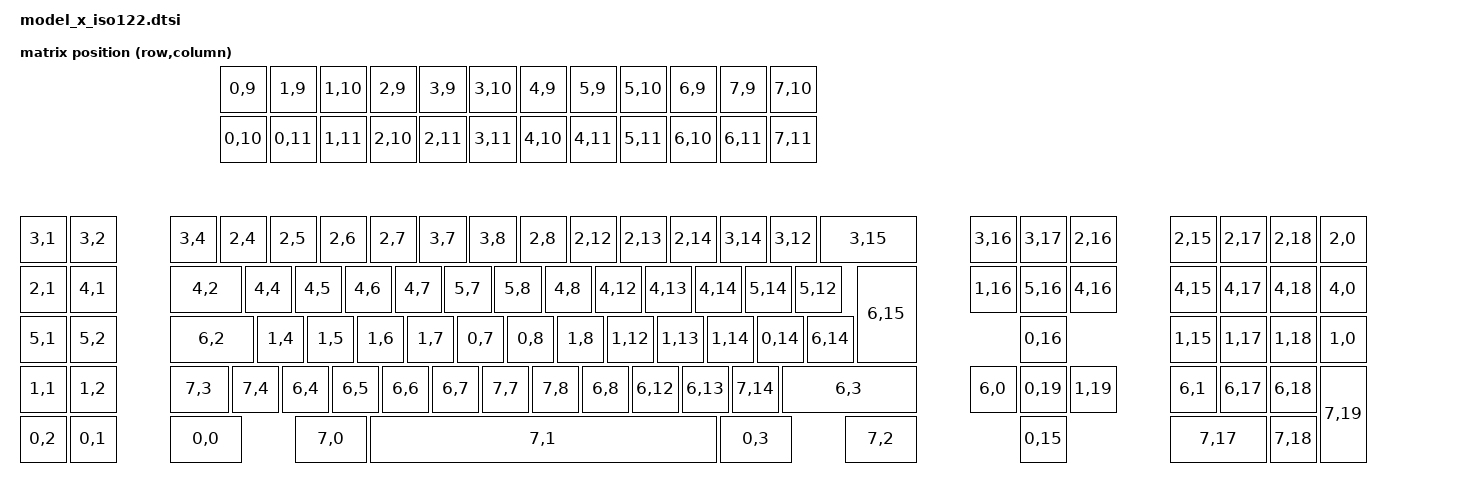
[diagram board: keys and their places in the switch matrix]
#include <dt-bindings/zmk/matrix_transform.h>
#include <physical_layouts.dtsi>

/ {

    iso122_ph_layout: iso122_ph_layout {
        compatible = "zmk,physical-layout";
        display-name = "ISO 122";
        transform = <&iso122_matrix_transform>;
        kscan = <&unified_kscan>;
        
        
        keys  //                     w   h    x    y     rot    rx    ry
            = <&key_physical_attrs 100 100  400    0       0     0     0>
            , <&key_physical_attrs 100 100  500    0       0     0     0>
            , <&key_physical_attrs 100 100  600    0       0     0     0>
            , <&key_physical_attrs 100 100  700    0       0     0     0>
            , <&key_physical_attrs 100 100  800    0       0     0     0>
            , <&key_physical_attrs 100 100  900    0       0     0     0>
            , <&key_physical_attrs 100 100  1000   0       0     0     0>
            , <&key_physical_attrs 100 100  1100   0       0     0     0>
            , <&key_physical_attrs 100 100  1200   0       0     0     0>
            , <&key_physical_attrs 100 100  1300   0       0     0     0>
            , <&key_physical_attrs 100 100  1400   0       0     0     0>
            , <&key_physical_attrs 100 100  1500   0       0     0     0>

            , <&key_physical_attrs 100 100  400    100     0     0     0>
            , <&key_physical_attrs 100 100  500    100     0     0     0>
            , <&key_physical_attrs 100 100  600    100     0     0     0>
            , <&key_physical_attrs 100 100  700    100     0     0     0>
            , <&key_physical_attrs 100 100  800    100     0     0     0>
            , <&key_physical_attrs 100 100  900    100     0     0     0>
            , <&key_physical_attrs 100 100  1000   100     0     0     0>
            , <&key_physical_attrs 100 100  1100   100     0     0     0>
            , <&key_physical_attrs 100 100  1200   100     0     0     0>
            , <&key_physical_attrs 100 100  1300   100     0     0     0>
            , <&key_physical_attrs 100 100  1400   100     0     0     0>
            , <&key_physical_attrs 100 100  1500   100     0     0     0>

            , <&key_physical_attrs 100 100    0    300     0     0     0>
            , <&key_physical_attrs 100 100  100    300     0     0     0>
            , <&key_physical_attrs 100 100  300    300     0     0     0>
            , <&key_physical_attrs 100 100  400    300     0     0     0>
            , <&key_physical_attrs 100 100  500    300     0     0     0>
            , <&key_physical_attrs 100 100  600    300     0     0     0>
            , <&key_physical_attrs 100 100  700    300     0     0     0>
            , <&key_physical_attrs 100 100  800    300     0     0     0>
            , <&key_physical_attrs 100 100  900    300     0     0     0>
            , <&key_physical_attrs 100 100  1000   300     0     0     0>
            , <&key_physical_attrs 100 100  1100   300     0     0     0>
            , <&key_physical_attrs 100 100  1200   300     0     0     0>
            , <&key_physical_attrs 100 100  1300   300     0     0     0>
            , <&key_physical_attrs 100 100  1400   300     0     0     0>
            , <&key_physical_attrs 100 100  1500   300     0     0     0>
            , <&key_physical_attrs 200 100  1600   300     0     0     0>
            , <&key_physical_attrs 100 100  1900   300     0     0     0>
            , <&key_physical_attrs 100 100  2000   300     0     0     0>
            , <&key_physical_attrs 100 100  2100   300     0     0     0>
            , <&key_physical_attrs 100 100  2300   300     0     0     0>
            , <&key_physical_attrs 100 100  2400   300     0     0     0>
            , <&key_physical_attrs 100 100  2500   300     0     0     0>
            , <&key_physical_attrs 100 100  2600   300     0     0     0>

            , <&key_physical_attrs 100 100    0    400     0     0     0>
            , <&key_physical_attrs 100 100  100    400     0     0     0>
            , <&key_physical_attrs 150 100  300    400     0     0     0>
            , <&key_physical_attrs 100 100  450    400     0     0     0>
            , <&key_physical_attrs 100 100  550    400     0     0     0>
            , <&key_physical_attrs 100 100  650    400     0     0     0>
            , <&key_physical_attrs 100 100  750    400     0     0     0>
            , <&key_physical_attrs 100 100  850    400     0     0     0>
            , <&key_physical_attrs 100 100  950    400     0     0     0>
            , <&key_physical_attrs 100 100  1050   400     0     0     0>
            , <&key_physical_attrs 100 100  1150   400     0     0     0>
            , <&key_physical_attrs 100 100  1250   400     0     0     0>
            , <&key_physical_attrs 100 100  1350   400     0     0     0>
            , <&key_physical_attrs 100 100  1450   400     0     0     0>
            , <&key_physical_attrs 100 100  1550   400     0     0     0>
            , <&key_physical_attrs 100 100  1900   400     0     0     0>
            , <&key_physical_attrs 100 100  2000   400     0     0     0>
            , <&key_physical_attrs 100 100  2100   400     0     0     0>
            , <&key_physical_attrs 100 100  2300   400     0     0     0>
            , <&key_physical_attrs 100 100  2400   400     0     0     0>
            , <&key_physical_attrs 100 100  2500   400     0     0     0>
            , <&key_physical_attrs 100 100  2600   400     0     0     0>

            , <&key_physical_attrs 100 100    0    500     0     0     0>
            , <&key_physical_attrs 100 100  100    500     0     0     0>
            , <&key_physical_attrs 175 100  300    500     0     0     0>
            , <&key_physical_attrs 100 100   475   500     0     0     0>
            , <&key_physical_attrs 100 100   575   500     0     0     0>
            , <&key_physical_attrs 100 100   675   500     0     0     0>
            , <&key_physical_attrs 100 100   775   500     0     0     0>
            , <&key_physical_attrs 100 100   875   500     0     0     0>
            , <&key_physical_attrs 100 100   975   500     0     0     0>
            , <&key_physical_attrs 100 100  1075   500     0     0     0>
            , <&key_physical_attrs 100 100  1175   500     0     0     0>
            , <&key_physical_attrs 100 100  1275   500     0     0     0>
            , <&key_physical_attrs 100 100  1375   500     0     0     0>
            , <&key_physical_attrs 100 100  1475   500     0     0     0>
            , <&key_physical_attrs 100 100  1575   500     0     0     0>
            , <&key_physical_attrs 125 200  1675   400     0     0     0>
            , <&key_physical_attrs 100 100  2000   500     0     0     0>
            , <&key_physical_attrs 100 100  2300   500     0     0     0>
            , <&key_physical_attrs 100 100  2400   500     0     0     0>
            , <&key_physical_attrs 100 100  2500   500     0     0     0>
            , <&key_physical_attrs 100 100  2600   500     0     0     0>

            , <&key_physical_attrs 100 100    0    600     0     0     0>
            , <&key_physical_attrs 100 100   100   600     0     0     0>
            , <&key_physical_attrs 125 100   300   600     0     0     0>
            , <&key_physical_attrs 100 100   425   600     0     0     0>
            , <&key_physical_attrs 100 100   525   600     0     0     0>
            , <&key_physical_attrs 100 100   625   600     0     0     0>
            , <&key_physical_attrs 100 100   725   600     0     0     0>
            , <&key_physical_attrs 100 100   825   600     0     0     0>
            , <&key_physical_attrs 100 100   925   600     0     0     0>
            , <&key_physical_attrs 100 100  1025   600     0     0     0>
            , <&key_physical_attrs 100 100  1125   600     0     0     0>
            , <&key_physical_attrs 100 100  1225   600     0     0     0>
            , <&key_physical_attrs 100 100  1325   600     0     0     0>
            , <&key_physical_attrs 100 100  1425   600     0     0     0>
            , <&key_physical_attrs 275 100  1525   600     0     0     0>
            , <&key_physical_attrs 100 100  1900   600     0     0     0>
            , <&key_physical_attrs 100 100  2000   600     0     0     0>
            , <&key_physical_attrs 100 100  2100   600     0     0     0>
            , <&key_physical_attrs 100 100  2300   600     0     0     0>
            , <&key_physical_attrs 100 100  2400   600     0     0     0>
            , <&key_physical_attrs 100 100  2500   600     0     0     0>
            , <&key_physical_attrs 100 200  2600   600     0     0     0>

            , <&key_physical_attrs 100 100    0    700     0     0     0>
            , <&key_physical_attrs 100 100  100    700     0     0     0>
            , <&key_physical_attrs 150 100  300    700     0     0     0>
            , <&key_physical_attrs 150 100  550    700     0     0     0>
            , <&key_physical_attrs 700 100  700    700     0     0     0>
            , <&key_physical_attrs 150 100  1400   700     0     0     0>
            , <&key_physical_attrs 150 100  1650   700     0     0     0>
            , <&key_physical_attrs 100 100  2000   700     0     0     0>
            , <&key_physical_attrs 200 100  2300   700     0     0     0>
            , <&key_physical_attrs 100 100  2500   700     0     0     0>
        ;
    };
     
    iso122_matrix_transform: iso122_matrix_transform {
        compatible = "zmk,matrix-transform";
        rows = <8>;
        columns = <20>;

        //                          -------------------------------------------------------------------------------------------------
        //                          | PF13  | PF14  | PF15  | PF16  | PF17  | PF18  | PF19  | PF20  | PF21  | PF22  | PF23  | PF24  |
        //                          | PF1   | PF2   | PF3   | PF4   | PF5   | PF6   | PF7   | PF8   | PF9   | PF10  | PF11  | PF12  |
        //  -------------------------------------------------------------------------------------------------------------------------------------------------
        //  | Attn  | Clear |       |  `    |  1    |  2    |  3    |  4    |  5    |  6    |  7    |  8    |  9    |  0    |  -    |  =    |   BKSP        |       | PA1   | PA2   | Blank |       | BLANK | BLANK | '     | Space |
        //  | Blank | ErImp |       |    TAB    |  Q    |  W    |  E    |  R    |  T    |  Y    |  U    |  I    |  O    |  P    |  Cent |   \   |   (ENTER) |       |DELETE | Home  |  ??   |       | KP 7  | KP 8  | KP 9  | END   |
        //  | ExSel | ErEOF |       | CAPS        |   A   |   S   |   D   |   F   |   G   |   H   |   J   |   K   |   L   |   ;   |   '   |   }   |  ENTER  |               |  UP   |               | KP 4  | KP 5  | KP 6  | KP -  |
        //  | Print |  Test |       | LSHIFT  |   <>  |   Z   |   X   |   C   |   V   |   B   |   N   |   M   |   ,   |   .   |   /   |        RSHIFT       |       | LEFT  | Blank | RIGHT |       | KP 1  | KP 2  | KP 3  | K ENT |
        //  |  ??   |  ??   |       |   Reset   |       |    ALT    |                        SPACE                          |    ALT    |       |   Enter   |               | DOWN  |               |     KP 0      | KP .  |(K ENT)|
        //  -------------------------------------------------------------------------------------------------------------------------------------------------
        map = <
        //                          ------------------------------------------------------------------------------------------------------------
        //                          | PF13   | PF14   | PF15   | PF16   | PF17   | PF18   | PF19   | PF20   | PF21   | PF22   | PF23   | PF24  |
                                    RC(0,9)  RC(1,9)  RC(1,10) RC(2,9)  RC(3,9)  RC(3,10) RC(4,9)  RC(5,9)  RC(5,10) RC(6,9)  RC(7,9)  RC(7,10)

        //                          | PF1    | PF2    | PF3    | PF4    | PF5    | PF6    | PF7    | PF8    | PF9    | PF10   | PF11   | PF12  |
                                    RC(0,10) RC(0,11) RC(1,11) RC(2,10) RC(2,11) RC(3,11) RC(4,10) RC(4,11) RC(5,11) RC(6,10) RC(6,11) RC(7,11)

        //  -------------------------------------------------------------------------------------------------------------------------------------------------
        //  | Attn  | Clear |       |  `    |  1    |  2    |  3    |  4    |  5    |  6    |  7    |  8    |  9    |  0    |  -    |  =    |   BKSP        |       | PA1   | PA2   | Blank |       | BLANK | BLANK | '     | Space |
            RC(3,1) RC(3,2)        RC(3,4) RC(2,4) RC(2,5) RC(2,6) RC(2,7) RC(3,7) RC(3,8) RC(2,8) RC(2,12) RC(2,13) RC(2,14) RC(3,14) RC(3,12)  RC(3,15)          RC(3,16) RC(3,17) RC(2,16)      RC(2,15) RC(2,17) RC(2,18) RC(2,0) 

        //  | Blank | ErImp |       |    TAB    |  Q    |  W    |  E    |  R    |  T    |  Y    |  U    |  I    |  O    |  P    |  Cent |   \   |   (ENTER) |       |DELETE | Home  |  ??   |       | KP 7  | KP 8  | KP 9  | END   |
            RC(2,1) RC(4,1)           RC(4,2)  RC(4,4) RC(4,5) RC(4,6) RC(4,7) RC(5,7) RC(5,8) RC(4,8) RC(4,12) RC(4,13) RC(4,14) RC(5,14) RC(5,12)                RC(1,16) RC(5,16) RC(4,16)      RC(4,15) RC(4,17) RC(4,18) RC(4,0) 

        //  | ExSel | ErEOF |       | CAPS        |   A   |   S   |   D   |   F   |   G   |   H   |   J   |   K   |   L   |   ;   |   '   |   }   |  ENTER  |               |  UP   |               | KP 4  | KP 5  | KP 6  | KP -  |
            RC(5,1) RC(5,2)           RC(6,2)    RC(1,4) RC(1,5) RC(1,6) RC(1,7) RC(0,7) RC(0,8) RC(1,8) RC(1,12) RC(1,13) RC(1,14) RC(0,14) RC(6,14) RC(6,15)              RC(0,16)               RC(1,15) RC(1,17) RC(1,18) RC(1,0) 

        //  | Print |  Test |       | LSHIFT  |   <>  |   Z   |   X   |   C   |   V   |   B   |   N   |   M   |   ,   |   .   |   /   |        RSHIFT       |       | LEFT  | Blank | RIGHT |       | KP 1  | KP 2  | KP 3  | K ENT |
            RC(1,1) RC(1,2)           RC(7,3) RC(7,4) RC(6,4) RC(6,5) RC(6,6) RC(6,7) RC(7,7) RC(7,8) RC(6,8) RC(6,12) RC(6,13) RC(7,14)       RC(6,3)             RC(6,0)  RC(0,19) RC(1,19)      RC(6,1)  RC(6,17) RC(6,18) RC(7,19) 

        //  |  ??   |  ??   |       |   Reset   |       |    ALT    |                        SPACE                          |    ALT    |       |   Enter   |               | DOWN  |               |     KP 0      | KP .  |(K ENT)|
            RC(0,2) RC(0,1)         RC(0,0)                RC(7,0)                          RC(7,1)                            RC(0,3)             RC(7,2)                  RC(0,15)                    RC(7,17)    RC(7,18)
        >;
    };
    
};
